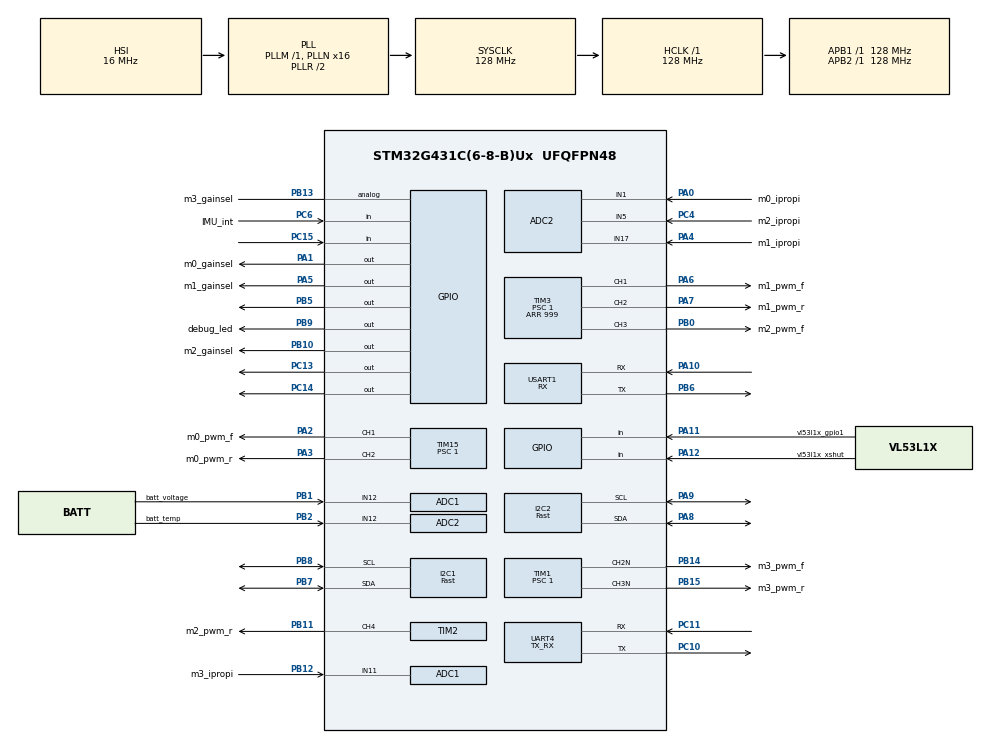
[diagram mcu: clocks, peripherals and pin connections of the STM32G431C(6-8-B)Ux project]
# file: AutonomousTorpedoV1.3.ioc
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ADC1.Channel-2\#ChannelRegularConversion=ADC_CHANNEL_VREFINT
ADC1.Channel-3\#ChannelRegularConversion=ADC_CHANNEL_TEMPSENSOR_ADC1
ADC1.Channel-4\#ChannelRegularConversion=ADC_CHANNEL_11
ADC1.Channel-5\#ChannelRegularConversion=ADC_CHANNEL_12
ADC1.ClockPrescaler=ADC_CLOCK_ASYNC_DIV64
ADC1.ContinuousConvMode=ENABLE
ADC1.DMAContinuousRequests=ENABLE
ADC1.EOCSelection=ADC_EOC_SEQ_CONV
ADC1.NbrOfConversion=4
ADC1.NbrOfConversionFlag=1
ADC1.OffsetNumber-2\#ChannelRegularConversion=ADC_OFFSET_NONE
ADC1.OffsetNumber-3\#ChannelRegularConversion=ADC_OFFSET_NONE
ADC1.OffsetNumber-4\#ChannelRegularConversion=ADC_OFFSET_NONE
ADC1.OffsetNumber-5\#ChannelRegularConversion=ADC_OFFSET_NONE
ADC1.OversamplingMode=ENABLE
ADC1.Rank-2\#ChannelRegularConversion=1
ADC1.Rank-3\#ChannelRegularConversion=2
ADC1.Rank-4\#ChannelRegularConversion=3
ADC1.Rank-5\#ChannelRegularConversion=4
ADC1.Ratio=ADC_OVERSAMPLING_RATIO_256
ADC1.RightBitShift=ADC_RIGHTBITSHIFT_8
ADC1.SamplingTime-2\#ChannelRegularConversion=ADC_SAMPLETIME_640CYCLES_5
ADC1.SamplingTime-3\#ChannelRegularConversion=ADC_SAMPLETIME_640CYCLES_5
ADC1.SamplingTime-4\#ChannelRegularConversion=ADC_SAMPLETIME_640CYCLES_5
ADC1.SamplingTime-5\#ChannelRegularConversion=ADC_SAMPLETIME_640CYCLES_5
ADC1.master=1
ADC2.Channel-0\#ChannelRegularConversion=ADC_CHANNEL_1
ADC2.Channel-1\#ChannelRegularConversion=ADC_CHANNEL_5
ADC2.Channel-2\#ChannelRegularConversion=ADC_CHANNEL_12
ADC2.Channel-3\#ChannelRegularConversion=ADC_CHANNEL_17
ADC2.ClockPrescaler=ADC_CLOCK_ASYNC_DIV64
ADC2.ContinuousConvMode=ENABLE
ADC2.DMAContinuousRequests=ENABLE
ADC2.NbrOfConversion=4
ADC2.NbrOfConversionFlag=1
ADC2.OffsetNumber-0\#ChannelRegularConversion=ADC_OFFSET_NONE
ADC2.OffsetNumber-1\#ChannelRegularConversion=ADC_OFFSET_NONE
ADC2.OffsetNumber-2\#ChannelRegularConversion=ADC_OFFSET_NONE
ADC2.OffsetNumber-3\#ChannelRegularConversion=ADC_OFFSET_NONE
ADC2.OversamplingMode=ENABLE
ADC2.Rank-0\#ChannelRegularConversion=1
ADC2.Rank-1\#ChannelRegularConversion=2
ADC2.Rank-2\#ChannelRegularConversion=3
ADC2.Rank-3\#ChannelRegularConversion=4
ADC2.Ratio=ADC_OVERSAMPLING_RATIO_256
ADC2.RightBitShift=ADC_RIGHTBITSHIFT_8
ADC2.SamplingTime-0\#ChannelRegularConversion=ADC_SAMPLETIME_640CYCLES_5
ADC2.SamplingTime-1\#ChannelRegularConversion=ADC_SAMPLETIME_640CYCLES_5
ADC2.SamplingTime-2\#ChannelRegularConversion=ADC_SAMPLETIME_640CYCLES_5
ADC2.SamplingTime-3\#ChannelRegularConversion=ADC_SAMPLETIME_247CYCLES_5
Dma.ADC1.1.Direction=DMA_PERIPH_TO_MEMORY
Dma.ADC1.1.EventEnable=DISABLE
Dma.ADC1.1.Instance=DMA1_Channel1
Dma.ADC1.1.MemDataAlignment=DMA_MDATAALIGN_HALFWORD
Dma.ADC1.1.MemInc=DMA_MINC_ENABLE
Dma.ADC1.1.Mode=DMA_CIRCULAR
Dma.ADC1.1.PeriphDataAlignment=DMA_PDATAALIGN_HALFWORD
Dma.ADC1.1.PeriphInc=DMA_PINC_DISABLE
Dma.ADC1.1.Polarity=HAL_DMAMUX_REQ_GEN_RISING
Dma.ADC1.1.Priority=DMA_PRIORITY_LOW
Dma.ADC1.1.RequestNumber=1
Dma.ADC1.1.SignalID=NONE
Dma.ADC1.1.SyncEnable=DISABLE
Dma.ADC1.1.SyncPolarity=HAL_DMAMUX_SYNC_NO_EVENT
Dma.ADC1.1.SyncRequestNumber=1
Dma.ADC1.1.SyncSignalID=NONE
Dma.ADC2.0.Direction=DMA_PERIPH_TO_MEMORY
Dma.ADC2.0.EventEnable=DISABLE
Dma.ADC2.0.Instance=DMA1_Channel2
Dma.ADC2.0.MemDataAlignment=DMA_MDATAALIGN_HALFWORD
Dma.ADC2.0.MemInc=DMA_MINC_ENABLE
Dma.ADC2.0.Mode=DMA_CIRCULAR
Dma.ADC2.0.PeriphDataAlignment=DMA_PDATAALIGN_HALFWORD
Dma.ADC2.0.PeriphInc=DMA_PINC_DISABLE
Dma.ADC2.0.Polarity=HAL_DMAMUX_REQ_GEN_RISING
Dma.ADC2.0.Priority=DMA_PRIORITY_LOW
Dma.ADC2.0.RequestNumber=1
Dma.ADC2.0.SignalID=NONE
Dma.ADC2.0.SyncEnable=DISABLE
Dma.ADC2.0.SyncPolarity=HAL_DMAMUX_SYNC_NO_EVENT
Dma.ADC2.0.SyncRequestNumber=1
Dma.ADC2.0.SyncSignalID=NONE
Dma.Request0=ADC2
Dma.Request1=ADC1
FREERTOS.Tasks01=defaultTask,24,128,StartDefaultTask,Default,NULL,Dynamic,NULL,NULL
FREERTOS.configCHECK_FOR_STACK_OVERFLOW=2
FREERTOS.configGENERATE_RUN_TIME_STATS=1
FREERTOS.configRECORD_STACK_HIGH_ADDRESS=1
FREERTOS.configTIMER_TASK_PRIORITY=55
FREERTOS.configTOTAL_HEAP_SIZE=12000
FREERTOS.configUSE_NEWLIB_REENTRANT=1
FREERTOS.configUSE_STATS_FORMATTING_FUNCTIONS=1
I2C1.I2C_Speed_Mode=I2C_Fast
I2C1.Timing=0x10C22267
I2C2.I2C_Speed_Mode=I2C_Fast
I2C2.Timing=0x10C22267
Mcu.Family=STM32G4
Mcu.Name=STM32G431C(6-8-B)Ux
Mcu.Package=UFQFPN48
NVIC.ADC1_2_IRQn=true\:5\:0\:true\:false\:true\:true\:true\:true\:true
NVIC.DMA1_Channel1_IRQn=true\:5\:0\:false\:false\:true\:true\:false\:true\:true
NVIC.DMA1_Channel2_IRQn=true\:5\:0\:false\:false\:true\:true\:false\:true\:true
NVIC.PriorityGroup=NVIC_PRIORITYGROUP_4
NVIC.TIM4_IRQn=true\:15\:0\:false\:false\:true\:false\:false\:true\:true
NVIC.TimeBase=TIM4_IRQn
NVIC.TimeBaseIP=TIM4
NVIC.UART4_IRQn=true\:9\:0\:true\:false\:true\:true\:true\:true\:true
PA0.GPIO_Label=m0_ipropi
PA0.Mode=IN1-Single-Ended
PA0.Signal=ADC2_IN1
PA1.GPIO_Label=m0_gainsel
PA1.Signal=GPIO_Output
PA10.Mode=Asynchronous
PA10.Signal=USART1_RX
PA11.GPIO_Label=vl53l1x_gpio1
PA11.Signal=GPIO_Input
PA12.GPIO_Label=vl53l1x_xshut
PA12.Signal=GPIO_Input
PA13.Mode=Serial_Wire
PA13.Signal=SYS_JTMS-SWDIO
PA14.Mode=Serial_Wire
PA14.Signal=SYS_JTCK-SWCLK
PA2.GPIO_Label=m0_pwm_f
PA2.Signal=S_TIM15_CH1
PA3.GPIO_Label=m0_pwm_r
PA3.Signal=S_TIM15_CH2
PA4.GPIO_Label=m1_ipropi
PA4.Mode=IN17-Single-Ended
PA4.Signal=ADC2_IN17
PA5.GPIO_Label=m1_gainsel
PA5.Signal=GPIO_Output
PA6.GPIO_Label=m1_pwm_f
PA6.Signal=S_TIM3_CH1
PA7.GPIO_Label=m1_pwm_r
PA7.Signal=S_TIM3_CH2
PA8.Mode=I2C
PA8.Signal=I2C2_SDA
PA9.Mode=I2C
PA9.Signal=I2C2_SCL
PB0.GPIO_Label=m2_pwm_f
PB0.Signal=S_TIM3_CH3
PB1.GPIO_Label=batt_voltage
PB1.Mode=IN12-Single-Ended
PB1.Signal=ADC1_IN12
PB10.GPIO_Label=m2_gainsel
PB10.Signal=GPIO_Output
PB11.GPIO_Label=m2_pwm_r
PB11.Signal=S_TIM2_CH4
PB12.GPIO_Label=m3_ipropi
PB12.Mode=IN11-Single-Ended
PB12.Signal=ADC1_IN11
PB13.GPIO_Label=m3_gainsel
PB13.Signal=GPIO_Analog
PB14.GPIO_Label=m3_pwm_f
PB14.Mode=PWM Generation2 CH2N
PB14.Signal=TIM1_CH2N
PB15.GPIO_Label=m3_pwm_r
PB15.Mode=PWM Generation3 CH3N
PB15.Signal=TIM1_CH3N
PB2.GPIO_Label=batt_temp
PB2.Mode=IN12-Single-Ended
PB2.Signal=ADC2_IN12
PB5.Signal=GPIO_Output
PB6.Mode=Asynchronous
PB6.Signal=USART1_TX
PB7.Mode=I2C
PB7.Signal=I2C1_SDA
PB8-BOOT0.Mode=I2C
PB8-BOOT0.Signal=I2C1_SCL
PB9.GPIO_Label=debug_led
PB9.Signal=GPIO_Output
PC10.Mode=Asynchronous
PC10.Signal=UART4_TX
PC11.Mode=Asynchronous
PC11.Signal=UART4_RX
PC13.Signal=GPIO_Output
PC14-OSC32_IN.Signal=GPIO_Output
PC15-OSC32_OUT.Signal=GPIO_Input
PC4.GPIO_Label=m2_ipropi
PC4.Mode=IN5-Single-Ended
PC4.Signal=ADC2_IN5
PC6.GPIO_Label=IMU_int
PC6.Signal=GPIO_Input
PF0-OSC_IN.Mode=HSE-External-Oscillator
PF0-OSC_IN.Signal=RCC_OSC_IN
PF1-OSC_OUT.Mode=HSE-External-Oscillator
PF1-OSC_OUT.Signal=RCC_OSC_OUT
ProjectManager.HeapSize=0x200
ProjectManager.StackSize=0x400
ProjectManager.TargetToolchain=STM32CubeIDE
RCC.ADC12Freq_Value=128000000
RCC.AHBFreq_Value=128000000
RCC.APB1Freq_Value=128000000
RCC.APB1TimFreq_Value=128000000
RCC.APB2Freq_Value=128000000
RCC.APB2TimFreq_Value=128000000
RCC.CortexFreq_Value=128000000
RCC.EXTERNAL_CLOCK_VALUE=12288000
RCC.HCLKFreq_Value=128000000
RCC.HSE_VALUE=16000000
RCC.HSI48_VALUE=48000000
RCC.HSI_VALUE=16000000
RCC.LSE_VALUE=32768
RCC.PLLN=16
RCC.SYSCLKFreq_VALUE=128000000
RCC.SYSCLKSource=RCC_SYSCLKSOURCE_PLLCLK
RCC.USBFreq_Value=128000000
RCC.VCOOutputFreq_Value=256000000
SH.S_TIM15_CH1.0=TIM15_CH1,PWM Generation1 CH1
SH.S_TIM15_CH2.0=TIM15_CH2,PWM Generation2 CH2
SH.S_TIM2_CH4.0=TIM2_CH4,PWM Generation4 CH4
SH.S_TIM3_CH1.0=TIM3_CH1,PWM Generation1 CH1
SH.S_TIM3_CH2.0=TIM3_CH2,PWM Generation2 CH2
SH.S_TIM3_CH3.0=TIM3_CH3,PWM Generation3 CH3
TIM1.Channel-PWM\ Generation2\ CH2N=TIM_CHANNEL_2
TIM1.Channel-PWM\ Generation3\ CH3N=TIM_CHANNEL_3
TIM1.CounterMode=TIM_COUNTERMODE_UP
TIM1.OCMode_PWM-PWM\ Generation3\ CH3N=TIM_OCMODE_PWM1
TIM1.OCNIdleState_2=TIM_OCNIDLESTATE_RESET
TIM1.OCNIdleState_3=TIM_OCNIDLESTATE_RESET
TIM1.OCNPolarity_2=TIM_OCNPOLARITY_HIGH
TIM1.OCNPolarity_3=TIM_OCNPOLARITY_HIGH
TIM1.PeriodNoDither=999
TIM1.Prescaler=1
TIM15.AutoReloadPreload=TIM_AUTORELOAD_PRELOAD_ENABLE
TIM15.Channel-PWM\ Generation1\ CH1=TIM_CHANNEL_1
TIM15.Channel-PWM\ Generation2\ CH2=TIM_CHANNEL_2
TIM15.PeriodNoDither=999
TIM15.Prescaler=1
TIM2.Channel-PWM\ Generation4\ CH4=TIM_CHANNEL_4
TIM2.PeriodNoDither=999
TIM2.Prescaler=1
TIM3.AutoReloadPreload=TIM_AUTORELOAD_PRELOAD_ENABLE
TIM3.Channel-PWM\ Generation1\ CH1=TIM_CHANNEL_1
TIM3.Channel-PWM\ Generation2\ CH2=TIM_CHANNEL_2
TIM3.Channel-PWM\ Generation3\ CH3=TIM_CHANNEL_3
TIM3.PeriodNoDither=999
TIM3.Prescaler=1
TIM6.PeriodNoDither=10000-1
TIM6.Prescaler=128-1
UART4.Mode=MODE_TX_RX
USART1.Mode=MODE_RX
USART1.VirtualMode-Asynchronous=VM_ASYNC
VP_ADC1_TempSens_Input.Mode=IN-TempSens
VP_ADC1_Vref_Input.Mode=IN-Vrefint
VP_FREERTOS_VS_CMSIS_V2.Mode=CMSIS_V2
VP_SYS_VS_DBSignals.Mode=DisableDeadBatterySignals
VP_SYS_VS_tim4.Mode=TIM4
VP_TIM6_VS_ClockSourceINT.Mode=Enable_Timer
VREF+.Mode=InternalMode
VREF+.Signal=VREFBUF_OUT
board=custom

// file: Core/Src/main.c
/* USER CODE BEGIN Header */
/**
  ******************************************************************************
  * @file           : main.c
  * @brief          : Main program body
  ******************************************************************************
  * @attention
  *
  * Copyright (c) 2025 STMicroelectronics.
  * All rights reserved.
  *
  * This software is licensed under terms that can be found in the LICENSE file
  * in the root directory of this software component.
  * If no LICENSE file comes with this software, it is provided AS-IS.
  *
  ******************************************************************************
  */
/* USER CODE END Header */
#include "main.h"
#include "cmsis_os.h"

/* USER CODE BEGIN Includes */
#include "cpp_main.hpp"
#include "freertos.h"
#include "task.h"
#include "semphr.h"
#include "AdcData.hpp"
#include "message.hpp"
#include <stdio.h>
#include "freertos_comm.h"
/* USER CODE END Includes */

ADC_HandleTypeDef hadc1;
ADC_HandleTypeDef hadc2;
DMA_HandleTypeDef hdma_adc1;
DMA_HandleTypeDef hdma_adc2;

I2C_HandleTypeDef hi2c1;
I2C_HandleTypeDef hi2c2;

TIM_HandleTypeDef htim1;
TIM_HandleTypeDef htim2;
TIM_HandleTypeDef htim3;
TIM_HandleTypeDef htim6;
TIM_HandleTypeDef htim15;

UART_HandleTypeDef huart4;
UART_HandleTypeDef huart1;

/* Definitions for defaultTask */
osThreadId_t defaultTaskHandle;
const osThreadAttr_t defaultTask_attributes = {
  .name = "defaultTask",
  .priority = (osPriority_t) osPriorityNormal,
  .stack_size = 128 * 4
};

void SystemClock_Config(void);
static void MX_GPIO_Init(void);
static void MX_DMA_Init(void);
static void MX_ADC2_Init(void);
static void MX_I2C1_Init(void);
static void MX_I2C2_Init(void);
static void MX_TIM2_Init(void);
static void MX_TIM15_Init(void);
static void MX_UART4_Init(void);
static void MX_USART1_UART_Init(void);
static void MX_ADC1_Init(void);
static void MX_TIM1_Init(void);
static void MX_TIM3_Init(void);
static void MX_TIM6_Init(void);
void StartDefaultTask(void *argument);

/* USER CODE BEGIN PFP */
#define PUTCHAR_PROTOTYPE int __io_putchar(int ch)
/* USER CODE END PFP */

/* USER CODE BEGIN 0 */
SemaphoreHandle_t ssd1306_mutex;

void HAL_UARTEx_RxEventCallback(UART_HandleTypeDef *huart, uint16_t size) {
	if (huart->Instance == UART4) {
		msgInterruptRxHandler(size);
	}
}

void HAL_UART_TxCpltCallback(UART_HandleTypeDef *huart) {
	if (huart->Instance == UART4) {
		msgInterruptTxHandler();
	}
}

void HAL_I2C_MemTxCpltCallback(I2C_HandleTypeDef * hi2c) {
	i2c_interrupt_handler_write(hi2c);
}

void HAL_I2C_MemRxCpltCallback(I2C_HandleTypeDef * hi2c) {
	i2c_interrupt_handler_read(hi2c);
}

void HAL_I2C_MasterTxCpltCallback(I2C_HandleTypeDef * hi2c) {
	i2c_interrupt_handler_tx(hi2c);
}

void HAL_I2C_MasterRxCpltCallback(I2C_HandleTypeDef * hi2c) {
	i2c_interrupt_handler_rx(hi2c);
}

void HAL_I2C_ErrorCallback(I2C_HandleTypeDef *hi2c) {
	i2c_interrupt_handler_error(hi2c);
}
//SemaphoreHandle_t xI2C1BusySemaphore;
//SemaphoreHandle_t xI2C2BusySemaphore;

void HAL_ADC_ConvCpltCallback(ADC_HandleTypeDef *handle) {
	adcInterruptHandler(handle);
}

#define us_COUNTER_MAX 10000
static uint32_t usCounterOffset = 0;

static void getMicrosecondCounterOffset() {
	uint32_t tick_us = TIM6->CNT;
	uint32_t starting_tick_ms = HAL_GetTick();
	uint32_t tick_ms = HAL_GetTick();

	while (tick_ms == starting_tick_ms) {
		tick_us = TIM6->CNT;
		tick_ms = HAL_GetTick();
	}

	usCounterOffset = tick_us % 1000;
}

Instant getInstant() {
	taskENTER_CRITICAL();
	uint32_t tick_us = TIM6->CNT;
	uint32_t tick_ms = HAL_GetTick();
	taskEXIT_CRITICAL();

	return (Instant){ tick_ms, (tick_us + 1000 - usCounterOffset) % us_COUNTER_MAX };
}

uint32_t elapsed_us(Instant start, Instant end) {
    int32_t d_ms = (int32_t)end.tick_ms - (int32_t)start.tick_ms;
    int32_t d_us = (int32_t)end.tick_us - (int32_t)start.tick_us;

    return 1000 * d_ms + d_us;
}

/// Caclulates elapsed time from tick_us only, only works for up to us_COUNTER_MAX us
uint32_t elapsed_us2(Instant start, Instant end) {
	return (end.tick_us >= start.tick_us) ?
		(end.tick_us - start.tick_us) :
		((us_COUNTER_MAX - start.tick_us) + end.tick_us);
}

uint32_t readUsCounterOffset() {
	return usCounterOffset;
}

uint32_t getTick_us() {
	return TIM6->CNT;
}

/* USER CODE END 0 */

int main(void)
{

  /* MCU Configuration--------------------------------------------------------*/

  /* Reset of all peripherals, Initializes the Flash interface and the Systick. */
  HAL_Init();

  /* Configure the system clock */
  SystemClock_Config();

  /* Initialize all configured peripherals */
  MX_GPIO_Init();
  MX_DMA_Init();
  MX_ADC2_Init();
  MX_I2C1_Init();
  MX_I2C2_Init();
  MX_TIM2_Init();
  MX_TIM15_Init();
  MX_UART4_Init();
  MX_USART1_UART_Init();
  MX_ADC1_Init();
  MX_TIM1_Init();
  MX_TIM3_Init();
  MX_TIM6_Init();
  /* USER CODE BEGIN 2 */
//	getMicrosecondCounterOffset();
//  HAL_NVIC_SetPriorityGrouping(NVIC_PRIORITYGROUP_0);
  NVIC_SetPriorityGrouping(0);

//    FLASH_OBProgramInitTypeDef ob_cfg;
//    HAL_FLASHEx_OBGetConfig(&ob_cfg);
//
//    ob_cfg.OptionType = OPTIONBYTE_USER;
//    ob_cfg.USERType = OB_USER_nBOOT0;
//    ob_cfg.USERConfig =  OB_nBOOT0_RESET;
//
//    HAL_FLASH_Unlock();
//    HAL_FLASH_OB_Unlock();
//    HAL_FLASHEx_OBProgram(&ob_cfg);

	HAL_GPIO_TogglePin(GPIOB, GPIO_PIN_9);
	HAL_Delay(500);
	HAL_GPIO_TogglePin(GPIOB, GPIO_PIN_9);
	HAL_Delay(1000);
	HAL_GPIO_TogglePin(GPIOB, GPIO_PIN_9);
	HAL_Delay(500);
	HAL_GPIO_TogglePin(GPIOB, GPIO_PIN_9);
	HAL_Delay(1000);
	HAL_GPIO_TogglePin(GPIOB, GPIO_PIN_9);
	HAL_Delay(2000);

//	print_out("INITIALIZE");=
	HAL_TIM_Base_Start(&htim6);

	// ADC initialization
	HAL_ADCEx_Calibration_Start(&hadc1, ADC_SINGLE_ENDED);
	HAL_ADCEx_Calibration_Start(&hadc2, ADC_SINGLE_ENDED);
	/*
  HAL_ADC_Start_DMA(&hadc1, (uint32_t*)ADC1_Results_DMA, ADC1_Results_Count);
  HAL_ADC_Start_DMA(&hadc2, (uint32_t*)ADC2_Results_DMA, ADC2_Results_Count);

	// motor pin initialization
	HAL_TIM_PWM_Start(&htim15, TIM_CHANNEL_1);
	HAL_TIM_PWM_Start(&htim15, TIM_CHANNEL_2);

	HAL_TIM_PWM_Start(&htim3, TIM_CHANNEL_1);
	HAL_TIM_PWM_Start(&htim3, TIM_CHANNEL_2);

	HAL_TIM_PWM_Start(&htim3, TIM_CHANNEL_3);
	HAL_TIM_PWM_Start(&htim2, TIM_CHANNEL_4);

	// M3 uses CH2N and CH3N which require different PWM start functions
	HAL_TIMEx_PWMN_Start(&htim1, TIM_CHANNEL_2);
	HAL_TIMEx_PWMN_Start(&htim1, TIM_CHANNEL_3);

  devices.motor_inputs[0] = (MotorInput) { .gainsel = GainselHighCurrent, .drive_speed = 0.0 };
  devices.motor_inputs[1] = (MotorInput) { .gainsel = GainselHighCurrent, .drive_speed = 0.0 };
  devices.motor_inputs[2] = (MotorInput) { .gainsel = GainselHighCurrent, .drive_speed = 0.0 };
  devices.motor_inputs[3] = (MotorInput) { .gainsel = GainselHighCurrent, .drive_speed = 0.0 };

  set_motor_speeds(devices.motor_inputs);

  // ILPS22QS
  devices.ilps22qs_dev = ilps22qs_init();
  ilps22qs_set_control(&devices.ilps22qs_dev);

  // VEML3328
  devices.veml3328_dev = veml3328_init();
  veml3328_set_control(&devices.veml3328_dev);

	// AK09940A
	devices.ak09940a_dev = ak09940a_init(AK09940A_PowerDown, AK09940A_LowNoiseDrive2);

	// ICM42688P
	ICM42688P_init();
	int imu_status = ICM42688P_begin();
	ICM42688P_set_accel_fs(ICM42688P_ACCEL_FS_4G);
	ICM42688P_set_gyro_fs(ICM42688P_GYRO_FS_62_5DPS);

	// MS5837
	ms5837_t ms5837_dev = { 0 };
	ms5837_reset( &ms5837_dev );
	HAL_Delay(2);
	ms5837_read_calibration_data( &ms5837_dev );

	devices.ms5837_dev = ms5837_dev;
*/
	// SSD1306

	// VL53L1X

  /* USER CODE END 2 */

  /* Init scheduler */
  osKernelInitialize();

  /* USER CODE BEGIN RTOS_MUTEX */

  HAL_GPIO_WritePin(GPIOB, GPIO_PIN_9, GPIO_PIN_SET);
  HAL_Delay(1000);
  ssd1306_mutex = xSemaphoreCreateMutex(); // <--------- !!!!!!!! DON'T USE HAL_Delay AFTER THIS POINT !!!!!!!!
  init_freertos_i2c();
  /* add mutexes, ... */
  /* USER CODE END RTOS_MUTEX */

  /* USER CODE BEGIN RTOS_SEMAPHORES */
  messagesRxTxInit();
  /* add semaphores, ... */
  /* USER CODE END RTOS_SEMAPHORES */

  /* USER CODE BEGIN RTOS_QUEUES */
  /* add queues, ... */

#define GET_RID_OF_BAD_DEFAULT_TASK_WORKAROUND_SINCE_STMCUBEIDE_KEEPS_GENERATING_IT(x) ;
  GET_RID_OF_BAD_DEFAULT_TASK_WORKAROUND_SINCE_STMCUBEIDE_KEEPS_GENERATING_IT(
  /* USER CODE END RTOS_QUEUES */

  /* Create the thread(s) */
  /* creation of defaultTask */
  defaultTaskHandle = osThreadNew(StartDefaultTask, NULL, &defaultTask_attributes);

  /* USER CODE BEGIN RTOS_THREADS */
  )

  osThreadAttr_t cpp_attributes = {
		  .name = "cppMainTask",
		  .priority = (osPriority_t) osPriorityNormal,
		  .stack_size = 2048
  };
  osThreadNew(cppMainTask, NULL, &cpp_attributes);
  /* USER CODE END RTOS_THREADS */

  /* Start scheduler */
  osKernelStart();

  /* We should never get here as control is now taken by the scheduler */

  /* Infinite loop */
  while (1)
  {

  }
}

void SystemClock_Config(void)
{
  RCC_OscInitTypeDef RCC_OscInitStruct = {0};
  RCC_ClkInitTypeDef RCC_ClkInitStruct = {0};

  /** Configure the main internal regulator output voltage
  */
  HAL_PWREx_ControlVoltageScaling(PWR_REGULATOR_VOLTAGE_SCALE1);

  /** Initializes the RCC Oscillators according to the specified parameters
  * in the RCC_OscInitTypeDef structure.
  */
  RCC_OscInitStruct.OscillatorType = RCC_OSCILLATORTYPE_HSI;
  RCC_OscInitStruct.HSIState = RCC_HSI_ON;
  RCC_OscInitStruct.HSICalibrationValue = RCC_HSICALIBRATION_DEFAULT;
  RCC_OscInitStruct.PLL.PLLState = RCC_PLL_ON;
  RCC_OscInitStruct.PLL.PLLSource = RCC_PLLSOURCE_HSI;
  RCC_OscInitStruct.PLL.PLLM = RCC_PLLM_DIV1;
  RCC_OscInitStruct.PLL.PLLN = 16;
  RCC_OscInitStruct.PLL.PLLP = RCC_PLLP_DIV2;
  RCC_OscInitStruct.PLL.PLLQ = RCC_PLLQ_DIV2;
  RCC_OscInitStruct.PLL.PLLR = RCC_PLLR_DIV2;
  if (HAL_RCC_OscConfig(&RCC_OscInitStruct) != HAL_OK)
  {
    Error_Handler();
  }

  /** Initializes the CPU, AHB and APB buses clocks
  */
  RCC_ClkInitStruct.ClockType = RCC_CLOCKTYPE_HCLK|RCC_CLOCKTYPE_SYSCLK
                              |RCC_CLOCKTYPE_PCLK1|RCC_CLOCKTYPE_PCLK2;
  RCC_ClkInitStruct.SYSCLKSource = RCC_SYSCLKSOURCE_PLLCLK;
  RCC_ClkInitStruct.AHBCLKDivider = RCC_SYSCLK_DIV1;
  RCC_ClkInitStruct.APB1CLKDivider = RCC_HCLK_DIV1;
  RCC_ClkInitStruct.APB2CLKDivider = RCC_HCLK_DIV1;

  if (HAL_RCC_ClockConfig(&RCC_ClkInitStruct, FLASH_LATENCY_4) != HAL_OK)
  {
    Error_Handler();
  }
}

static void MX_ADC1_Init(void)
{

  ADC_MultiModeTypeDef multimode = {0};
  ADC_ChannelConfTypeDef sConfig = {0};

  /** Common config
  */
  hadc1.Instance = ADC1;
  hadc1.Init.ClockPrescaler = ADC_CLOCK_ASYNC_DIV64;
  hadc1.Init.Resolution = ADC_RESOLUTION_12B;
  hadc1.Init.DataAlign = ADC_DATAALIGN_RIGHT;
  hadc1.Init.GainCompensation = 0;
  hadc1.Init.ScanConvMode = ADC_SCAN_ENABLE;
  hadc1.Init.EOCSelection = ADC_EOC_SEQ_CONV;
  hadc1.Init.LowPowerAutoWait = DISABLE;
  hadc1.Init.ContinuousConvMode = ENABLE;
  hadc1.Init.NbrOfConversion = 4;
  hadc1.Init.DiscontinuousConvMode = DISABLE;
  hadc1.Init.ExternalTrigConv = ADC_SOFTWARE_START;
  hadc1.Init.ExternalTrigConvEdge = ADC_EXTERNALTRIGCONVEDGE_NONE;
  hadc1.Init.DMAContinuousRequests = ENABLE;
  hadc1.Init.Overrun = ADC_OVR_DATA_PRESERVED;
  hadc1.Init.OversamplingMode = ENABLE;
  hadc1.Init.Oversampling.Ratio = ADC_OVERSAMPLING_RATIO_256;
  hadc1.Init.Oversampling.RightBitShift = ADC_RIGHTBITSHIFT_8;
  hadc1.Init.Oversampling.TriggeredMode = ADC_TRIGGEREDMODE_SINGLE_TRIGGER;
  hadc1.Init.Oversampling.OversamplingStopReset = ADC_REGOVERSAMPLING_CONTINUED_MODE;
  if (HAL_ADC_Init(&hadc1) != HAL_OK)
  {
    Error_Handler();
  }

  /** Configure the ADC multi-mode
  */
  multimode.Mode = ADC_MODE_INDEPENDENT;
  if (HAL_ADCEx_MultiModeConfigChannel(&hadc1, &multimode) != HAL_OK)
  {
    Error_Handler();
  }

  /** Configure Regular Channel
  */
  sConfig.Channel = ADC_CHANNEL_VREFINT;
  sConfig.Rank = ADC_REGULAR_RANK_1;
  sConfig.SamplingTime = ADC_SAMPLETIME_640CYCLES_5;
  sConfig.SingleDiff = ADC_SINGLE_ENDED;
  sConfig.OffsetNumber = ADC_OFFSET_NONE;
  sConfig.Offset = 0;
  if (HAL_ADC_ConfigChannel(&hadc1, &sConfig) != HAL_OK)
  {
    Error_Handler();
  }

  /** Configure Regular Channel
  */
  sConfig.Channel = ADC_CHANNEL_TEMPSENSOR_ADC1;
  sConfig.Rank = ADC_REGULAR_RANK_2;
  if (HAL_ADC_ConfigChannel(&hadc1, &sConfig) != HAL_OK)
  {
    Error_Handler();
  }

  /** Configure Regular Channel
  */
  sConfig.Channel = ADC_CHANNEL_11;
  sConfig.Rank = ADC_REGULAR_RANK_3;
  if (HAL_ADC_ConfigChannel(&hadc1, &sConfig) != HAL_OK)
  {
    Error_Handler();
  }

  /** Configure Regular Channel
  */
  sConfig.Channel = ADC_CHANNEL_12;
  sConfig.Rank = ADC_REGULAR_RANK_4;
  if (HAL_ADC_ConfigChannel(&hadc1, &sConfig) != HAL_OK)
  {
    Error_Handler();
  }

}

static void MX_ADC2_Init(void)
{

  ADC_ChannelConfTypeDef sConfig = {0};

  /** Common config
  */
  hadc2.Instance = ADC2;
  hadc2.Init.ClockPrescaler = ADC_CLOCK_ASYNC_DIV64;
  hadc2.Init.Resolution = ADC_RESOLUTION_12B;
  hadc2.Init.DataAlign = ADC_DATAALIGN_RIGHT;
  hadc2.Init.GainCompensation = 0;
  hadc2.Init.ScanConvMode = ADC_SCAN_ENABLE;
  hadc2.Init.EOCSelection = ADC_EOC_SINGLE_CONV;
  hadc2.Init.LowPowerAutoWait = DISABLE;
  hadc2.Init.ContinuousConvMode = ENABLE;
  hadc2.Init.NbrOfConversion = 4;
  hadc2.Init.DiscontinuousConvMode = DISABLE;
  hadc2.Init.ExternalTrigConv = ADC_SOFTWARE_START;
  hadc2.Init.ExternalTrigConvEdge = ADC_EXTERNALTRIGCONVEDGE_NONE;
  hadc2.Init.DMAContinuousRequests = ENABLE;
  hadc2.Init.Overrun = ADC_OVR_DATA_PRESERVED;
  hadc2.Init.OversamplingMode = ENABLE;
  hadc2.Init.Oversampling.Ratio = ADC_OVERSAMPLING_RATIO_256;
  hadc2.Init.Oversampling.RightBitShift = ADC_RIGHTBITSHIFT_8;
  hadc2.Init.Oversampling.TriggeredMode = ADC_TRIGGEREDMODE_SINGLE_TRIGGER;
  hadc2.Init.Oversampling.OversamplingStopReset = ADC_REGOVERSAMPLING_CONTINUED_MODE;
  if (HAL_ADC_Init(&hadc2) != HAL_OK)
  {
    Error_Handler();
  }

  /** Configure Regular Channel
  */
  sConfig.Channel = ADC_CHANNEL_1;
  sConfig.Rank = ADC_REGULAR_RANK_1;
  sConfig.SamplingTime = ADC_SAMPLETIME_640CYCLES_5;
  sConfig.SingleDiff = ADC_SINGLE_ENDED;
  sConfig.OffsetNumber = ADC_OFFSET_NONE;
  sConfig.Offset = 0;
  if (HAL_ADC_ConfigChannel(&hadc2, &sConfig) != HAL_OK)
  {
    Error_Handler();
  }

  /** Configure Regular Channel
  */
  sConfig.Channel = ADC_CHANNEL_5;
  sConfig.Rank = ADC_REGULAR_RANK_2;
  if (HAL_ADC_ConfigChannel(&hadc2, &sConfig) != HAL_OK)
  {
    Error_Handler();
  }

  /** Configure Regular Channel
  */
  sConfig.Channel = ADC_CHANNEL_12;
  sConfig.Rank = ADC_REGULAR_RANK_3;
  if (HAL_ADC_ConfigChannel(&hadc2, &sConfig) != HAL_OK)
  {
    Error_Handler();
  }

  /** Configure Regular Channel
  */
  sConfig.Channel = ADC_CHANNEL_17;
  sConfig.Rank = ADC_REGULAR_RANK_4;
  sConfig.SamplingTime = ADC_SAMPLETIME_247CYCLES_5;
  if (HAL_ADC_ConfigChannel(&hadc2, &sConfig) != HAL_OK)
  {
    Error_Handler();
  }

}

static void MX_I2C1_Init(void)
{

  hi2c1.Instance = I2C1;
  hi2c1.Init.Timing = 0x10C22267;
  hi2c1.Init.OwnAddress1 = 0;
  hi2c1.Init.AddressingMode = I2C_ADDRESSINGMODE_7BIT;
  hi2c1.Init.DualAddressMode = I2C_DUALADDRESS_DISABLE;
  hi2c1.Init.OwnAddress2 = 0;
  hi2c1.Init.OwnAddress2Masks = I2C_OA2_NOMASK;
  hi2c1.Init.GeneralCallMode = I2C_GENERALCALL_DISABLE;
  hi2c1.Init.NoStretchMode = I2C_NOSTRETCH_DISABLE;
  if (HAL_I2C_Init(&hi2c1) != HAL_OK)
  {
    Error_Handler();
  }

  /** Configure Analogue filter
  */
  if (HAL_I2CEx_ConfigAnalogFilter(&hi2c1, I2C_ANALOGFILTER_ENABLE) != HAL_OK)
  {
    Error_Handler();
  }

  /** Configure Digital filter
  */
  if (HAL_I2CEx_ConfigDigitalFilter(&hi2c1, 0) != HAL_OK)
  {
    Error_Handler();
  }

}

static void MX_I2C2_Init(void)
{

  hi2c2.Instance = I2C2;
  hi2c2.Init.Timing = 0x10C22267;
  hi2c2.Init.OwnAddress1 = 0;
  hi2c2.Init.AddressingMode = I2C_ADDRESSINGMODE_7BIT;
  hi2c2.Init.DualAddressMode = I2C_DUALADDRESS_DISABLE;
  hi2c2.Init.OwnAddress2 = 0;
  hi2c2.Init.OwnAddress2Masks = I2C_OA2_NOMASK;
  hi2c2.Init.GeneralCallMode = I2C_GENERALCALL_DISABLE;
  hi2c2.Init.NoStretchMode = I2C_NOSTRETCH_DISABLE;
  if (HAL_I2C_Init(&hi2c2) != HAL_OK)
  {
    Error_Handler();
  }

  /** Configure Analogue filter
  */
  if (HAL_I2CEx_ConfigAnalogFilter(&hi2c2, I2C_ANALOGFILTER_ENABLE) != HAL_OK)
  {
    Error_Handler();
  }

  /** Configure Digital filter
  */
  if (HAL_I2CEx_ConfigDigitalFilter(&hi2c2, 0) != HAL_OK)
  {
    Error_Handler();
  }

}

static void MX_TIM1_Init(void)
{

  TIM_MasterConfigTypeDef sMasterConfig = {0};
  TIM_OC_InitTypeDef sConfigOC = {0};
  TIM_BreakDeadTimeConfigTypeDef sBreakDeadTimeConfig = {0};

  htim1.Instance = TIM1;
  htim1.Init.Prescaler = 1;
  htim1.Init.CounterMode = TIM_COUNTERMODE_UP;
  htim1.Init.Period = 999;
  htim1.Init.ClockDivision = TIM_CLOCKDIVISION_DIV1;
  htim1.Init.RepetitionCounter = 0;
  htim1.Init.AutoReloadPreload = TIM_AUTORELOAD_PRELOAD_DISABLE;
  if (HAL_TIM_PWM_Init(&htim1) != HAL_OK)
  {
    Error_Handler();
  }
  sMasterConfig.MasterOutputTrigger = TIM_TRGO_RESET;
  sMasterConfig.MasterOutputTrigger2 = TIM_TRGO2_RESET;
  sMasterConfig.MasterSlaveMode = TIM_MASTERSLAVEMODE_DISABLE;
  if (HAL_TIMEx_MasterConfigSynchronization(&htim1, &sMasterConfig) != HAL_OK)
  {
    Error_Handler();
  }
  sConfigOC.OCMode = TIM_OCMODE_PWM1;
  sConfigOC.Pulse = 0;
  sConfigOC.OCPolarity = TIM_OCPOLARITY_HIGH;
  sConfigOC.OCNPolarity = TIM_OCNPOLARITY_HIGH;
  sConfigOC.OCFastMode = TIM_OCFAST_DISABLE;
  sConfigOC.OCIdleState = TIM_OCIDLESTATE_RESET;
  sConfigOC.OCNIdleState = TIM_OCNIDLESTATE_RESET;
  if (HAL_TIM_PWM_ConfigChannel(&htim1, &sConfigOC, TIM_CHANNEL_2) != HAL_OK)
  {
    Error_Handler();
  }
  if (HAL_TIM_PWM_ConfigChannel(&htim1, &sConfigOC, TIM_CHANNEL_3) != HAL_OK)
  {
    Error_Handler();
  }
  sBreakDeadTimeConfig.OffStateRunMode = TIM_OSSR_DISABLE;
  sBreakDeadTimeConfig.OffStateIDLEMode = TIM_OSSI_DISABLE;
  sBreakDeadTimeConfig.LockLevel = TIM_LOCKLEVEL_OFF;
  sBreakDeadTimeConfig.DeadTime = 0;
  sBreakDeadTimeConfig.BreakState = TIM_BREAK_DISABLE;
  sBreakDeadTimeConfig.BreakPolarity = TIM_BREAKPOLARITY_HIGH;
  sBreakDeadTimeConfig.BreakFilter = 0;
  sBreakDeadTimeConfig.BreakAFMode = TIM_BREAK_AFMODE_INPUT;
  sBreakDeadTimeConfig.Break2State = TIM_BREAK2_DISABLE;
  sBreakDeadTimeConfig.Break2Polarity = TIM_BREAK2POLARITY_HIGH;
  sBreakDeadTimeConfig.Break2Filter = 0;
  sBreakDeadTimeConfig.Break2AFMode = TIM_BREAK_AFMODE_INPUT;
  sBreakDeadTimeConfig.AutomaticOutput = TIM_AUTOMATICOUTPUT_DISABLE;
  if (HAL_TIMEx_ConfigBreakDeadTime(&htim1, &sBreakDeadTimeConfig) != HAL_OK)
  {
    Error_Handler();
  }
  HAL_TIM_MspPostInit(&htim1);

}

static void MX_TIM2_Init(void)
{

  TIM_MasterConfigTypeDef sMasterConfig = {0};
  TIM_OC_InitTypeDef sConfigOC = {0};

  htim2.Instance = TIM2;
  htim2.Init.Prescaler = 1;
  htim2.Init.CounterMode = TIM_COUNTERMODE_UP;
  htim2.Init.Period = 999;
  htim2.Init.ClockDivision = TIM_CLOCKDIVISION_DIV1;
  htim2.Init.AutoReloadPreload = TIM_AUTORELOAD_PRELOAD_DISABLE;
  if (HAL_TIM_PWM_Init(&htim2) != HAL_OK)
  {
    Error_Handler();
  }
  sMasterConfig.MasterOutputTrigger = TIM_TRGO_RESET;
  sMasterConfig.MasterSlaveMode = TIM_MASTERSLAVEMODE_DISABLE;
  if (HAL_TIMEx_MasterConfigSynchronization(&htim2, &sMasterConfig) != HAL_OK)
  {
    Error_Handler();
  }
  sConfigOC.OCMode = TIM_OCMODE_PWM1;
  sConfigOC.Pulse = 0;
  sConfigOC.OCPolarity = TIM_OCPOLARITY_HIGH;
  sConfigOC.OCFastMode = TIM_OCFAST_DISABLE;
  if (HAL_TIM_PWM_ConfigChannel(&htim2, &sConfigOC, TIM_CHANNEL_4) != HAL_OK)
  {
    Error_Handler();
  }
  HAL_TIM_MspPostInit(&htim2);

}

static void MX_TIM3_Init(void)
{

  TIM_MasterConfigTypeDef sMasterConfig = {0};
  TIM_OC_InitTypeDef sConfigOC = {0};

  htim3.Instance = TIM3;
  htim3.Init.Prescaler = 1;
  htim3.Init.CounterMode = TIM_COUNTERMODE_UP;
  htim3.Init.Period = 999;
  htim3.Init.ClockDivision = TIM_CLOCKDIVISION_DIV1;
  htim3.Init.AutoReloadPreload = TIM_AUTORELOAD_PRELOAD_ENABLE;
  if (HAL_TIM_PWM_Init(&htim3) != HAL_OK)
  {
    Error_Handler();
  }
  sMasterConfig.MasterOutputTrigger = TIM_TRGO_RESET;
  sMasterConfig.MasterSlaveMode = TIM_MASTERSLAVEMODE_DISABLE;
  if (HAL_TIMEx_MasterConfigSynchronization(&htim3, &sMasterConfig) != HAL_OK)
  {
    Error_Handler();
  }
  sConfigOC.OCMode = TIM_OCMODE_PWM1;
  sConfigOC.Pulse = 0;
  sConfigOC.OCPolarity = TIM_OCPOLARITY_HIGH;
  sConfigOC.OCFastMode = TIM_OCFAST_DISABLE;
  if (HAL_TIM_PWM_ConfigChannel(&htim3, &sConfigOC, TIM_CHANNEL_1) != HAL_OK)
  {
    Error_Handler();
  }
  if (HAL_TIM_PWM_ConfigChannel(&htim3, &sConfigOC, TIM_CHANNEL_2) != HAL_OK)
  {
    Error_Handler();
  }
  if (HAL_TIM_PWM_ConfigChannel(&htim3, &sConfigOC, TIM_CHANNEL_3) != HAL_OK)
  {
    Error_Handler();
  }
  HAL_TIM_MspPostInit(&htim3);

}

static void MX_TIM6_Init(void)
{

  TIM_MasterConfigTypeDef sMasterConfig = {0};

  htim6.Instance = TIM6;
  htim6.Init.Prescaler = 128-1;
  htim6.Init.CounterMode = TIM_COUNTERMODE_UP;
  htim6.Init.Period = 9999;
  htim6.Init.AutoReloadPreload = TIM_AUTORELOAD_PRELOAD_DISABLE;
  if (HAL_TIM_Base_Init(&htim6) != HAL_OK)
  {
    Error_Handler();
  }
  sMasterConfig.MasterOutputTrigger = TIM_TRGO_RESET;
  sMasterConfig.MasterSlaveMode = TIM_MASTERSLAVEMODE_DISABLE;
  if (HAL_TIMEx_MasterConfigSynchronization(&htim6, &sMasterConfig) != HAL_OK)
  {
    Error_Handler();
  }

}

static void MX_TIM15_Init(void)
{

  TIM_MasterConfigTypeDef sMasterConfig = {0};
  TIM_OC_InitTypeDef sConfigOC = {0};
  TIM_BreakDeadTimeConfigTypeDef sBreakDeadTimeConfig = {0};

  htim15.Instance = TIM15;
  htim15.Init.Prescaler = 1;
  htim15.Init.CounterMode = TIM_COUNTERMODE_UP;
  htim15.Init.Period = 999;
  htim15.Init.ClockDivision = TIM_CLOCKDIVISION_DIV1;
  htim15.Init.RepetitionCounter = 0;
  htim15.Init.AutoReloadPreload = TIM_AUTORELOAD_PRELOAD_ENABLE;
  if (HAL_TIM_PWM_Init(&htim15) != HAL_OK)
  {
    Error_Handler();
  }
  sMasterConfig.MasterOutputTrigger = TIM_TRGO_RESET;
  sMasterConfig.MasterSlaveMode = TIM_MASTERSLAVEMODE_DISABLE;
  if (HAL_TIMEx_MasterConfigSynchronization(&htim15, &sMasterConfig) != HAL_OK)
  {
    Error_Handler();
  }
  sConfigOC.OCMode = TIM_OCMODE_PWM1;
  sConfigOC.Pulse = 0;
  sConfigOC.OCPolarity = TIM_OCPOLARITY_HIGH;
  sConfigOC.OCNPolarity = TIM_OCNPOLARITY_HIGH;
  sConfigOC.OCFastMode = TIM_OCFAST_DISABLE;
  sConfigOC.OCIdleState = TIM_OCIDLESTATE_RESET;
  sConfigOC.OCNIdleState = TIM_OCNIDLESTATE_RESET;
  if (HAL_TIM_PWM_ConfigChannel(&htim15, &sConfigOC, TIM_CHANNEL_1) != HAL_OK)
  {
    Error_Handler();
  }
  if (HAL_TIM_PWM_ConfigChannel(&htim15, &sConfigOC, TIM_CHANNEL_2) != HAL_OK)
  {
    Error_Handler();
  }
  sBreakDeadTimeConfig.OffStateRunMode = TIM_OSSR_DISABLE;
  sBreakDeadTimeConfig.OffStateIDLEMode = TIM_OSSI_DISABLE;
  sBreakDeadTimeConfig.LockLevel = TIM_LOCKLEVEL_OFF;
  sBreakDeadTimeConfig.DeadTime = 0;
  sBreakDeadTimeConfig.BreakState = TIM_BREAK_DISABLE;
  sBreakDeadTimeConfig.BreakPolarity = TIM_BREAKPOLARITY_HIGH;
  sBreakDeadTimeConfig.BreakFilter = 0;
  sBreakDeadTimeConfig.AutomaticOutput = TIM_AUTOMATICOUTPUT_DISABLE;
  if (HAL_TIMEx_ConfigBreakDeadTime(&htim15, &sBreakDeadTimeConfig) != HAL_OK)
  {
    Error_Handler();
  }
  HAL_TIM_MspPostInit(&htim15);

}

static void MX_UART4_Init(void)
{

  huart4.Instance = UART4;
  huart4.Init.BaudRate = 115200;
  huart4.Init.WordLength = UART_WORDLENGTH_8B;
  huart4.Init.StopBits = UART_STOPBITS_1;
  huart4.Init.Parity = UART_PARITY_NONE;
  huart4.Init.Mode = UART_MODE_TX_RX;
  huart4.Init.HwFlowCtl = UART_HWCONTROL_NONE;
  huart4.Init.OverSampling = UART_OVERSAMPLING_16;
  huart4.Init.OneBitSampling = UART_ONE_BIT_SAMPLE_DISABLE;
  huart4.Init.ClockPrescaler = UART_PRESCALER_DIV1;
  huart4.AdvancedInit.AdvFeatureInit = UART_ADVFEATURE_NO_INIT;
  if (HAL_UART_Init(&huart4) != HAL_OK)
  {
    Error_Handler();
  }
  if (HAL_UARTEx_SetTxFifoThreshold(&huart4, UART_TXFIFO_THRESHOLD_1_8) != HAL_OK)
  {
    Error_Handler();
  }
  if (HAL_UARTEx_SetRxFifoThreshold(&huart4, UART_RXFIFO_THRESHOLD_1_8) != HAL_OK)
  {
    Error_Handler();
  }
  if (HAL_UARTEx_DisableFifoMode(&huart4) != HAL_OK)
  {
    Error_Handler();
  }

}

static void MX_USART1_UART_Init(void)
{

  huart1.Instance = USART1;
  huart1.Init.BaudRate = 115200;
  huart1.Init.WordLength = UART_WORDLENGTH_8B;
  huart1.Init.StopBits = UART_STOPBITS_1;
  huart1.Init.Parity = UART_PARITY_NONE;
  huart1.Init.Mode = UART_MODE_RX;
  huart1.Init.HwFlowCtl = UART_HWCONTROL_NONE;
  huart1.Init.OverSampling = UART_OVERSAMPLING_16;
  huart1.Init.OneBitSampling = UART_ONE_BIT_SAMPLE_DISABLE;
  huart1.Init.ClockPrescaler = UART_PRESCALER_DIV1;
  huart1.AdvancedInit.AdvFeatureInit = UART_ADVFEATURE_NO_INIT;
  if (HAL_UART_Init(&huart1) != HAL_OK)
  {
    Error_Handler();
  }
  if (HAL_UARTEx_SetTxFifoThreshold(&huart1, UART_TXFIFO_THRESHOLD_1_8) != HAL_OK)
  {
    Error_Handler();
  }
  if (HAL_UARTEx_SetRxFifoThreshold(&huart1, UART_RXFIFO_THRESHOLD_1_8) != HAL_OK)
  {
    Error_Handler();
  }
  if (HAL_UARTEx_DisableFifoMode(&huart1) != HAL_OK)
  {
    Error_Handler();
  }

}

static void MX_DMA_Init(void)
{

  /* DMA controller clock enable */
  __HAL_RCC_DMAMUX1_CLK_ENABLE();
  __HAL_RCC_DMA1_CLK_ENABLE();

  /* DMA interrupt init */
  /* DMA1_Channel1_IRQn interrupt configuration */
  HAL_NVIC_SetPriority(DMA1_Channel1_IRQn, 5, 0);
  HAL_NVIC_EnableIRQ(DMA1_Channel1_IRQn);
  /* DMA1_Channel2_IRQn interrupt configuration */
  HAL_NVIC_SetPriority(DMA1_Channel2_IRQn, 5, 0);
  HAL_NVIC_EnableIRQ(DMA1_Channel2_IRQn);

}

static void MX_GPIO_Init(void)
{
  GPIO_InitTypeDef GPIO_InitStruct = {0};

  /* GPIO Ports Clock Enable */
  __HAL_RCC_GPIOC_CLK_ENABLE();
  __HAL_RCC_GPIOF_CLK_ENABLE();
  __HAL_RCC_GPIOA_CLK_ENABLE();
  __HAL_RCC_GPIOB_CLK_ENABLE();

  /*Configure GPIO pin Output Level */
  HAL_GPIO_WritePin(GPIOC, GPIO_PIN_13|GPIO_PIN_14, GPIO_PIN_RESET);

  /*Configure GPIO pin Output Level */
  HAL_GPIO_WritePin(GPIOA, m0_gainsel_Pin|m1_gainsel_Pin, GPIO_PIN_RESET);

  /*Configure GPIO pin Output Level */
  HAL_GPIO_WritePin(GPIOB, m2_gainsel_Pin|GPIO_PIN_5|debug_led_Pin, GPIO_PIN_RESET);

  /*Configure GPIO pins : PC13 PC14 */
  GPIO_InitStruct.Pin = GPIO_PIN_13|GPIO_PIN_14;
  GPIO_InitStruct.Mode = GPIO_MODE_OUTPUT_PP;
  GPIO_InitStruct.Pull = GPIO_NOPULL;
  GPIO_InitStruct.Speed = GPIO_SPEED_FREQ_LOW;
  HAL_GPIO_Init(GPIOC, &GPIO_InitStruct);

  /*Configure GPIO pins : PC15 IMU_int_Pin */
  GPIO_InitStruct.Pin = GPIO_PIN_15|IMU_int_Pin;
  GPIO_InitStruct.Mode = GPIO_MODE_INPUT;
  GPIO_InitStruct.Pull = GPIO_NOPULL;
  HAL_GPIO_Init(GPIOC, &GPIO_InitStruct);

  /*Configure GPIO pins : m0_gainsel_Pin m1_gainsel_Pin */
  GPIO_InitStruct.Pin = m0_gainsel_Pin|m1_gainsel_Pin;
  GPIO_InitStruct.Mode = GPIO_MODE_OUTPUT_PP;
  GPIO_InitStruct.Pull = GPIO_NOPULL;
  GPIO_InitStruct.Speed = GPIO_SPEED_FREQ_LOW;
  HAL_GPIO_Init(GPIOA, &GPIO_InitStruct);

  /*Configure GPIO pins : m2_gainsel_Pin PB5 debug_led_Pin */
  GPIO_InitStruct.Pin = m2_gainsel_Pin|GPIO_PIN_5|debug_led_Pin;
  GPIO_InitStruct.Mode = GPIO_MODE_OUTPUT_PP;
  GPIO_InitStruct.Pull = GPIO_NOPULL;
  GPIO_InitStruct.Speed = GPIO_SPEED_FREQ_LOW;
  HAL_GPIO_Init(GPIOB, &GPIO_InitStruct);

  /*Configure GPIO pin : m3_gainsel_Pin */
  GPIO_InitStruct.Pin = m3_gainsel_Pin;
  GPIO_InitStruct.Mode = GPIO_MODE_ANALOG;
  GPIO_InitStruct.Pull = GPIO_NOPULL;
  HAL_GPIO_Init(m3_gainsel_GPIO_Port, &GPIO_InitStruct);

  /*Configure GPIO pins : vl53l1x_gpio1_Pin vl53l1x_xshut_Pin */
  GPIO_InitStruct.Pin = vl53l1x_gpio1_Pin|vl53l1x_xshut_Pin;
  GPIO_InitStruct.Mode = GPIO_MODE_INPUT;
  GPIO_InitStruct.Pull = GPIO_NOPULL;
  HAL_GPIO_Init(GPIOA, &GPIO_InitStruct);

}

/* USER CODE BEGIN 4 */
PUTCHAR_PROTOTYPE
{

  return putchar_override(ch);
}

#ifdef __cplusplus
namespace std{
extern "C"{
#endif
int _write(int fd, char *ptr, int len){
  return _write_override(fd, ptr, len);
}

#ifdef __cpluscplus
}
}
#endif
/* USER CODE END 4 */

void StartDefaultTask(void *argument)
{
  /* USER CODE BEGIN 5 */
//	for (;;) {
//		osDelay(10000);
//	}
	osDelay(100);
	osThreadExit();
  /* USER CODE END 5 */
}

void HAL_TIM_PeriodElapsedCallback(TIM_HandleTypeDef *htim)
{
  if (htim->Instance == TIM4)
  {
    HAL_IncTick();
  }
}

void Error_Handler(void)
{
  /* USER CODE BEGIN Error_Handler_Debug */
  /* User can add his own implementation to report the HAL error return state */

  TaskHandle_t xErroringTask = xTaskGetCurrentTaskHandle();

  if (xErroringTask == NULL) {
	  printf("ERROR: Error_Handler() called from unknown place\n");
	  HAL_Delay(1000);
  } else {
	  printf("ERROR: Error_Handler() called from task: \"%s\"\n", pcTaskGetName(xErroringTask));
	  osDelay(1000);
  }

  __disable_irq();
  while (1)
  {
  }
  /* USER CODE END Error_Handler_Debug */
}

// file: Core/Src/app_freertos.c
/* USER CODE BEGIN Header */
/**
  ******************************************************************************
  * File Name          : app_freertos.c
  * Description        : Code for freertos applications
  ******************************************************************************
  * @attention
  *
  * Copyright (c) 2025 STMicroelectronics.
  * All rights reserved.
  *
  * This software is licensed under terms that can be found in the LICENSE file
  * in the root directory of this software component.
  * If no LICENSE file comes with this software, it is provided AS-IS.
  *
  ******************************************************************************
  */
/* USER CODE END Header */

#include "FreeRTOS.h"
#include "task.h"
#include "main.h"

/* Hook prototypes */
void configureTimerForRunTimeStats(void);
unsigned long getRunTimeCounterValue(void);
void vApplicationStackOverflowHook(xTaskHandle xTask, signed char *pcTaskName);

/* USER CODE BEGIN 1 */
/* Functions needed when configGENERATE_RUN_TIME_STATS is on */
__weak void configureTimerForRunTimeStats(void)
{

}

__weak unsigned long getRunTimeCounterValue(void)
{
return 0;
}
/* USER CODE END 1 */

/* USER CODE BEGIN 4 */
void vApplicationStackOverflowHook(xTaskHandle xTask, signed char *pcTaskName)
{
   /* Run time stack overflow checking is performed if
   configCHECK_FOR_STACK_OVERFLOW is defined to 1 or 2. This hook function is
   called if a stack overflow is detected. */
}
/* USER CODE END 4 */
